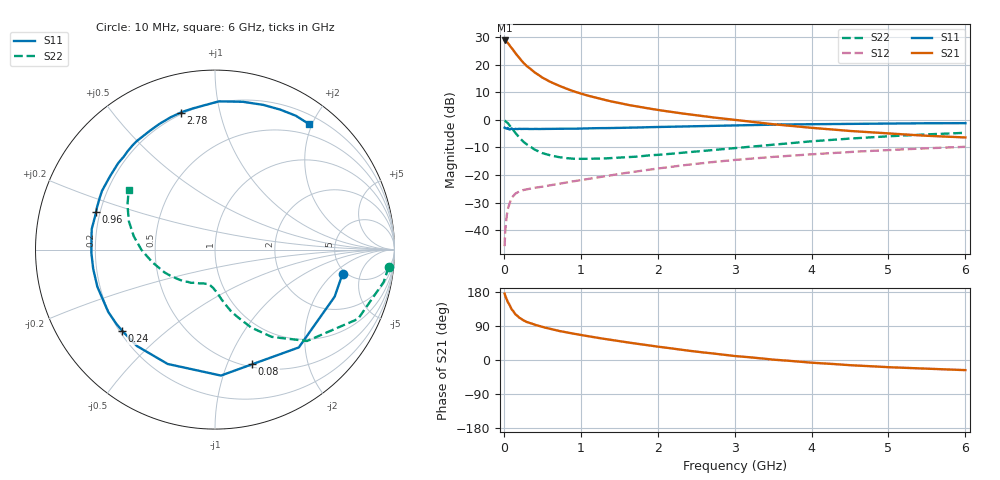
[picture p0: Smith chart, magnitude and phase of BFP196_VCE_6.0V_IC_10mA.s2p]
! Infineon Technologies  Discrete & RF Semiconductors
! BFP196
! VCE = 6.0 V,  IC =  10mA
! Common Emitter S-Parameters:  Jan 2016
# GHz  S  MA  R  50
!  f  S11  S21  S12  S22
! GHz  MAG  ANG  MAG  ANG  MAG  ANG  MAG  ANG
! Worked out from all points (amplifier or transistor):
!   210 points, 10 MHz to 6 GHz, reference 50 ohm
!   highest |S21| = 28.9 dB at 10 MHz (marker M1)
!   |S21| within 3 dB of that: start of sweep to 109.7 MHz
!   unconditionally stable (mu >= 1): 896.1 MHz to 3.374 GHz
!   at 185 MHz: K = 0.30, MSG = 24.6 dB, |S12| = -26.2 dB
!   at 1.52 GHz: K = 1.14, MAG = 10.5 dB, |S12| = -19.5 dB
!   at 6 GHz: K = 0.95, MSG = 1.7 dB, |S12| = -9.8 dB
!   S11 on the Smith chart (normalised r, x): 10 MHz: 4.69, -2.64; 80 MHz: 0.53, -1.23; 240 MHz: 0.21, -0.36; 960 MHz: 0.18, +0.15; 2.78 GHz: 0.19, +0.76; 6 GHz: 0.33, +1.96
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0.01  0.7235 -10.7  27.79 175.1  0.0051 88.2  0.9725 -5.7
0.02  0.7163 -21.5  27.24 168.5  0.0103 80.2  0.9569 -10.9
0.05  0.7178 -49.4  25.26 153.7  0.0235 67.4  0.8859 -25.8
0.08  0.6717 -72.1  22.12 143.0  0.0321 56.8  0.7773 -36.3
0.1  0.7026 -87.3  20.57 134.2  0.0382 52.5  0.7228 -44.8
0.15  0.6896 -112.5  16.35 120.6  0.0459 42.5  0.5797 -57.0
0.2  0.6912 -129.0  13.36 111.8  0.0502 38.0  0.4802 -65.0
0.24  0.6871 -138.8  11.53 106.6  0.0526 35.5  0.4212 -69.3
0.3  0.6888 -149.7  9.489 100.2  0.0551 33.9  0.3581 -75.2
0.4  0.6874 -162.4  7.32 93.0  0.0586 33.3  0.2896 -81.5
0.5  0.6871 -170.9  5.888 87.2  0.0612 33.8  0.2502 -85.8
0.6  0.6892 -178.6  4.954 82.0  0.0649 35.0  0.2275 -89.6
0.7  0.6907 175.4  4.285 77.3  0.0687 36.7  0.2129 -93.0
0.96  0.6952 162.6  3.141 67.6  0.079 40.1  0.197 -100.6
1.02  0.6987 159.8  2.958 65.4  0.0815 40.7  0.1966 -102.1
1.4  0.7136 145.0  2.162 52.9  0.0991 43.0  0.2035 -112.1
2.02  0.7459 125.1  1.507 34.8  0.1323 42.7  0.233 -129.1
2.78  0.7871 104.0  1.088 15.8  0.1753 37.9  0.2889 -150.0
3.1  0.8 96.8  0.967 8.9  0.1927 34.7  0.317 -158.7
4.1  0.8392 77.7  0.702 -8.3  0.2425 24.4  0.4183 178.2
5.1  0.862 63.7  0.557 -19.8  0.2887 13.2  0.5126 159.9
6  0.874 53.0  0.481 -26.7  0.3253 2.5  0.5847 145.3
